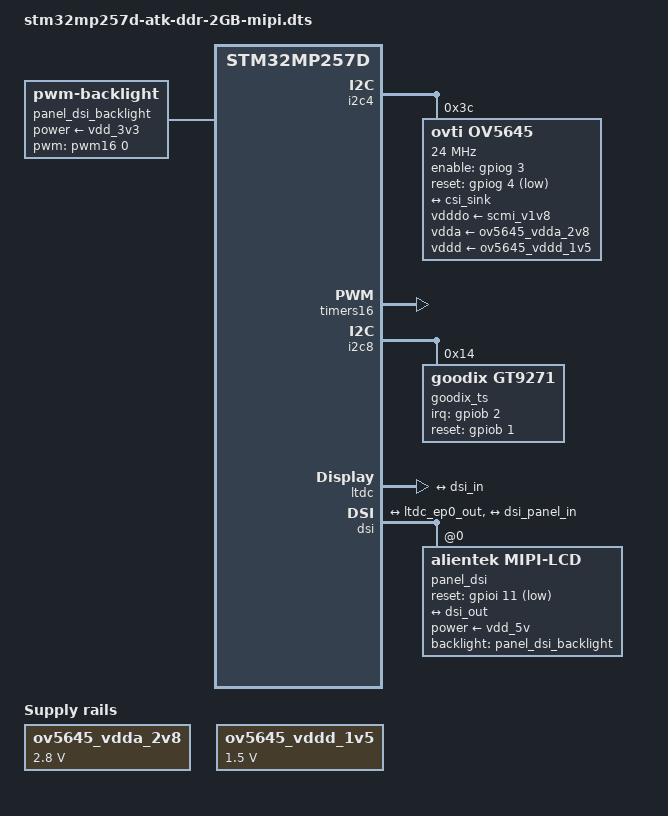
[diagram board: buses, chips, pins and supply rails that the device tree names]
#include "stm32mp257d-atk-ddr-2GB.dts"
/ {
	/*
	 * dsi_lcd_id select id:
	 * atk_no_mipi = 1,
	 * atk_mipi_dsi_5x5_720x1280 = 2,
	 * atk_mipi_dsi_5x5_1080x1920 = 3,
	 * atk_mipi_dsi_10x1_800x1280 = 4,
	 */
	dsi_lcd_id {
		dsi_select_id = <2>;
	};
	
	panel_dsi_backlight: panel-dsi-backlight {
		compatible = "pwm-backlight";
		pwms = <&pwm16 0 5000000 0>;
		brightness-levels = <0 1 2 3 4 5 6 7 8 9
							 10 11 12 13 14 15 16 17 18 19
							 20 21 22 23 24 25 26 27 28 29
							 30 31 32 33 34 35 36 37 38 39
							 40 41 42 43 44 45 46 47 48 49
							 50 51 52 53 54 55 56 57 58 59
							 60 61 62 63 64 65 66 67 68 69
							 70 71 72 73 74 75 76 77 78 79
							 80 81 82 83 84 85 86 87 88 89
							 90 91 92 93 94 95 96 97 98 99
							 100 101 102 103 104 105 106 107 108 109
							 110 111 112 113 114 115 116 117 118 119
							 120 121 122 123 124 125 126 127 128 129
							 130 131 132 133 134 135 136 137 138 139
							 140 141 142 143 144 145 146 147 148 149
							 150 151 152 153 154 155 156 157 158 159
							 160 161 162 163 164 165 166 167 168 169
							 170 171 172 173 174 175 176 177 178 179
							 180 181 182 183 184 185 186 187 188 189
							 190 191 192 193 194 195 196 197 198 199
							 200 201 202 203 204 205 206 207 208 209
							 210 211 212 213 214 215 216 217 218 219
							 220 221 222 223 224 225 226 227 228 229
							 230 231 232 233 234 235 236 237 238 239
							 240 241 242 243 244 245 246 247 248 249
							 250 251 252 253 254 255>;
		power-supply = <&vdd_3v3>;
		default-brightness-level = <255>;
		status = "okay";
	};
};

/* --------------------------------------------------------------------- */
/* OV5645 camera integration: disable old sensor, add supplies and node  */
/* 每一行都带注释，标注需要你在规格书或硬件上确认的位置                    */
/* --------------------------------------------------------------------- */

/ {
	/* 固定2.8V模拟电源占位（若已有PMIC 2.8V轨，请改为对应regulator并删除此占位） */
	ov5645_vdda_2v8: ov5645-vdda-2v8 {
		compatible = "regulator-fixed"; /* 固定电压regulator，占位用；CHECK: 若使用PMIC输出请替换为对应供电节点 */
		regulator-name = "ov5645_vdda_2v8"; /* 供电名称，供摄像头AVDD使用（模拟2.8V） */
		regulator-min-microvolt = <2800000>; /* 2.8V 最小值；CHECK: 规格书Electrical Characteristics */
		regulator-max-microvolt = <2800000>; /* 2.8V 最大值；CHECK: 规格书Electrical Characteristics */
		/* regulator-always-on;  // 可选：若电源需常上电, 解除注释；CHECK: 上下电时序 */
	};

	/* 固定1.5V内核电源占位（若已有PMIC 1.5V轨，请改为对应regulator并删除此占位） */
	ov5645_vddd_1v5: ov5645-vddd-1v5 {
		compatible = "regulator-fixed"; /* 固定电压regulator，占位用；CHECK: 若使用PMIC输出请替换为对应供电节点 */
		regulator-name = "ov5645_vddd_1v5"; /* 供电名称，供摄像头DVDD使用（数字内核1.5V） */
		regulator-min-microvolt = <1500000>; /* 1.5V 最小值；CHECK: 规格书Electrical Characteristics */
		regulator-max-microvolt = <1500000>; /* 1.5V 最大值；CHECK: 规格书Electrical Characteristics */
		/* regulator-always-on;  // 可选：若电源需常上电, 解除注释；CHECK: 上下电时序 */
	};
};

&i2c4 {
	/* 新增 OV5645 摄像头节点，I2C 地址通常为 0x3c；CHECK: 用 i2cdetect 或规格书确认地址 */
	ov5645: camera@3c {
		compatible = "ovti,ov5645"; /* 指定使用 OV5645 驱动（绑定文档 ovti,ov5645.yaml） */
		reg = <0x3c>; /* I2C 7-bit 地址；CHECK: 规格书 SCCB/I2C Slave Address，或实机扫总线确认 */

		/* 外部时钟输入，使用板上已有 24MHz 时钟；CHECK: 规格书允许的XVCLK范围与抖动要求 */
		clocks = <&clk_ext_camera>; /* 时钟源引用：在基线DTS中为 fixed-clock 24MHz */
		clock-frequency = <24000000>; /* XVCLK 频率（Hz） */

		/* 三路电源：根据硬件电源轨连接；若已有对应rail，请替换为实际节点 */
		vdddo-supply = <&scmi_v1v8>; /* DOVDD 1.8V（IO电压）；CHECK: 实际IO电压是否为1.8V，或是否为2.8/3.3V变体 */
		vdda-supply = <&ov5645_vdda_2v8>; /* AVDD 2.8V 模拟电源；CHECK: 若PMIC已有2.8V轨请改为对应节点 */
		vddd-supply = <&ov5645_vddd_1v5>; /* DVDD 1.5V 内核电源；CHECK: 若PMIC已有1.5V轨请改为对应节点 */

		/* 复位与掉电脚：请按转接板连线和规格书有效电平确认极性与GPIO编号 */
		enable-gpios = <&gpiog 3 GPIO_ACTIVE_HIGH>; /* PWDNB 引脚；CHECK: 有效电平（通常B表示低有效），以及是否接在PG3 */
		reset-gpios = <&gpiog 4 GPIO_ACTIVE_LOW>; /* RESETB 引脚；CHECK: 有效电平与是否接在PG4 */

		/* MIPI CSI-2 输出端口定义：与主机CSI连通，车道数与映射需与硬件一致 */
		port {
			ov5645_ep: endpoint {
				clock-lanes = <0>; /* 时钟lane索引，通常为0；CHECK: 若转接板改变走线，请同步调整 */
				data-lanes = <1 2>; /* 传感器侧数据lane编号（常用1和2两条）；CHECK: 实际连线及是否仅用1条 */
				remote-endpoint = <&csi_sink>; /* 对端为主机CSI sink端点 */
			};
		};
	};
};

/* 关闭原有的 IMX335 以避免同总线冲突（确认确实不再使用IMX335） */
&imx335 {
	status = "disabled"; /* 禁用旧传感器节点 */
};

&timers16 {
	status = "okay";
	/* spare dmas for other usage */
	/delete-property/ dmas;
	/delete-property/ dma-names;

	pwm16: pwm {
		pinctrl-0 = <&pwm16_pins_a>;
		pinctrl-1 = <&pwm16_sleep_pins_a>;
		pinctrl-names = "default", "sleep";
		#pwm-cells = <2>;
		status = "okay";
	};
};

&i2c8 {
	goodix_ts@14 {
		compatible = "goodix,gt9271", "goodix,gt911";
		reg = <0x14>;
		pinctrl-names = "default";
		interrupt-parent = <&gpiob>;
		interrupts = <2 IRQ_TYPE_EDGE_RISING>;
		irq-gpios = <&gpiob 2 GPIO_ACTIVE_HIGH>;
		reset-gpios = <&gpiob 1 GPIO_ACTIVE_HIGH>;
		status = "okay";
	};
};

&ltdc {
	rotation-memory = <&ltdc_sec_rotation>;
	status = "okay";

	port {
		#address-cells = <1>;
		#size-cells = <0>;

		ltdc_ep0_out: endpoint@0 {
			reg = <0>;
			remote-endpoint = <&dsi_in>;
		};
	};
};

&dsi {
	vdd-supply = <&scmi_vddcore>;
	vdda18-supply = <&scmi_v1v8>;
	status = "okay";
	#address-cells = <1>;
	#size-cells = <0>;

	ports {
		#address-cells = <1>;
		#size-cells = <0>;

		port@0 {
			reg = <0>;
			dsi_in: endpoint {};
		};

		port@1 {
			reg = <1>;
			dsi_out: endpoint {};
		};
	};

	panel_dsi: panel@0 {
		compatible = "alientek,mipi-lcd";
		reg = <0>;
		dsi-lanes = <4>;
		reset-gpio = <&gpioi 11 GPIO_ACTIVE_LOW>;
		power-supply = <&vdd_5v>;
		backlight = <&panel_dsi_backlight>;
		status = "okay";

		port {
			dsi_panel_in: endpoint {
				remote-endpoint = <&dsi_out>;
			};
		};
	};
};

&dsi_in {
	remote-endpoint = <&ltdc_ep0_out>;
};

&dsi_out {
	remote-endpoint = <&dsi_panel_in>;
};
